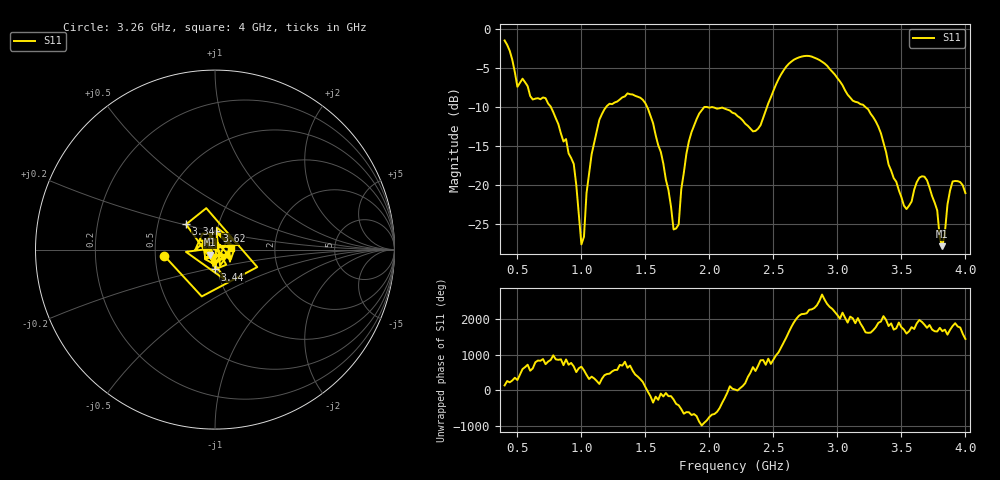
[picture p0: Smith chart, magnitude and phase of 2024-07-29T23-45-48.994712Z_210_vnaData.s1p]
!Created with skrf (http://scikit-rf.org).
# Hz S RI R 50.0
!freq ReS11 ImS11
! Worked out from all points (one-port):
!   181 points, 400 MHz to 4 GHz, reference 50 ohm
!   lowest |S11| = -27.9 dB at 3.82 GHz (marker M1), VSWR 1.08, Z = 47.2 - j2.73 ohm
!   |S11| at or under -10 dB: 761 MHz to 1.194 GHz (433.3 MHz wide, 44.3 % of centre); 1.513 GHz to 2.451 GHz (937.4 MHz wide, 47.3 % of centre); 3.217 GHz to end of sweep
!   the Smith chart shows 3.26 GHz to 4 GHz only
!   S11 on the Smith chart (normalised r, x): 3.26 GHz: 0.56, -0.04; 3.34 GHz: 0.70, +0.21; 3.44 GHz: 0.98, -0.22; 3.62 GHz: 0.99, +0.21; 4 GHz: 1.19, +0.03
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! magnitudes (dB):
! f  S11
! 400 MHz  -1.5
! 500 MHz  -7.4
! 720 MHz  -8.9
! 860 MHz  -14.4
! 940 MHz  -17.3
! 1 GHz  -27.7
! 1.08 GHz  -16.1
! 1.14 GHz  -11.7
! 1.3 GHz  -9.1
! 1.52 GHz  -10.2
! 1.64 GHz  -17.3
! 1.72 GHz  -25.7
! 1.76 GHz  -25.1
! 1.82 GHz  -16.0
! 1.92 GHz  -10.9
! 2.2 GHz  -10.9
! 2.38 GHz  -12.8
! 2.66 GHz  -4.0
! 3.1 GHz  -8.8
! 3.26 GHz  -10.9
! 3.34 GHz  -13.4
! 3.44 GHz  -19.1
! 3.56 GHz  -22.7
! 3.62 GHz  -19.7
! 3.7 GHz  -19.4
! 3.82 GHz  -27.9
! 3.9 GHz  -19.6
! 4 GHz  -21.1
